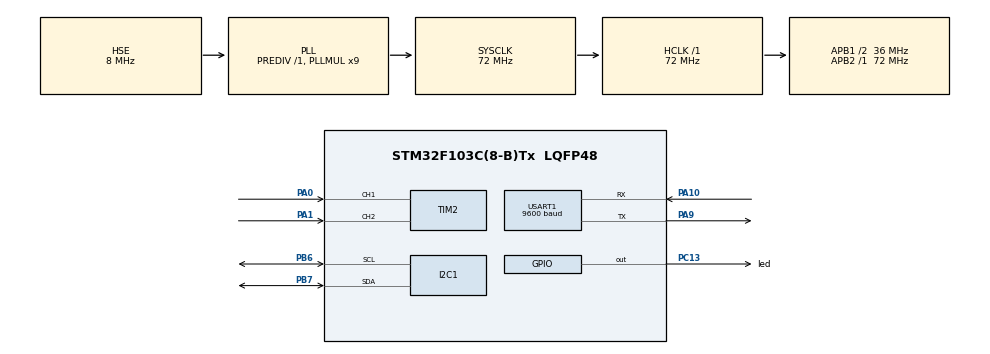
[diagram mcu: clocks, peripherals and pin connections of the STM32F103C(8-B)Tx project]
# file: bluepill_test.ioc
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Mcu.Family=STM32F1
Mcu.Name=STM32F103C(8-B)Tx
Mcu.Package=LQFP48
NVIC.PriorityGroup=NVIC_PRIORITYGROUP_4
PA0-WKUP.Signal=S_TIM2_CH1_ETR
PA1.Signal=S_TIM2_CH2
PA10.Mode=Asynchronous
PA10.Signal=USART1_RX
PA9.Mode=Asynchronous
PA9.Signal=USART1_TX
PB6.Mode=I2C
PB6.Signal=I2C1_SCL
PB7.Mode=I2C
PB7.Signal=I2C1_SDA
PC13-TAMPER-RTC.GPIO_Label=led
PC13-TAMPER-RTC.Signal=GPIO_Output
PC14-OSC32_IN.Mode=LSE-External-Oscillator
PC14-OSC32_IN.Signal=RCC_OSC32_IN
PC15-OSC32_OUT.Mode=LSE-External-Oscillator
PC15-OSC32_OUT.Signal=RCC_OSC32_OUT
PD0-OSC_IN.Mode=HSE-External-Oscillator
PD0-OSC_IN.Signal=RCC_OSC_IN
PD1-OSC_OUT.Mode=HSE-External-Oscillator
PD1-OSC_OUT.Signal=RCC_OSC_OUT
ProjectManager.HeapSize=0x200
ProjectManager.StackSize=0x400
ProjectManager.TargetToolchain=STM32CubeIDE
RCC.AHBFreq_Value=72000000
RCC.APB1CLKDivider=RCC_HCLK_DIV2
RCC.APB1Freq_Value=36000000
RCC.APB1TimFreq_Value=72000000
RCC.APB2Freq_Value=72000000
RCC.APB2TimFreq_Value=72000000
RCC.HCLKFreq_Value=72000000
RCC.PLLMUL=RCC_PLL_MUL9
RCC.PLLSourceVirtual=RCC_PLLSOURCE_HSE
RCC.SYSCLKFreq_VALUE=72000000
RCC.SYSCLKSource=RCC_SYSCLKSOURCE_PLLCLK
RCC.USBFreq_Value=72000000
SH.S_TIM2_CH1_ETR.0=TIM2_CH1,Encoder_Interface
SH.S_TIM2_CH2.0=TIM2_CH2,Encoder_Interface
TIM2.AutoReloadPreload=TIM_AUTORELOAD_PRELOAD_ENABLE
TIM2.EncoderMode=TIM_ENCODERMODE_TI12
TIM2.IC1Filter=10
TIM2.IC2Filter=10
USART1.BaudRate=9600
USART1.VirtualMode=VM_ASYNC
VP_SYS_VS_ND.Mode=No_Debug
board=custom

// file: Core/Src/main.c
/* USER CODE BEGIN Header */
/**
  ******************************************************************************
  * @file           : main.c
  * @brief          : Main program body
  ******************************************************************************
  * @attention
  *
  * Copyright (c) 2025 STMicroelectronics.
  * All rights reserved.
  *
  * This software is licensed under terms that can be found in the LICENSE file
  * in the root directory of this software component.
  * If no LICENSE file comes with this software, it is provided AS-IS.
  *
  ******************************************************************************
  */
/* USER CODE END Header */
#include "main.h"

/* USER CODE BEGIN Includes */
#include "i2C.h"
#include <stdbool.h>
//#include "enc_poll.h"
/* USER CODE END Includes */

/* USER CODE BEGIN PD */
#define n_quad 1
//extern int32_t pos[n_quad];
//extern int16_t diff[n_quad];

int32_t dat[3*n_quad];
uint8_t uart_data[12*n_quad];
uint8_t dat1[1] = {1};
uint8_t dat2[1] = {2};
uint8_t dat3[1] = {3};
uint8_t dat4[1] = {4};
uint8_t dat5[1] = {5};
uint8_t dat6[1] = {6};
/* USER CODE END PD */

I2C_HandleTypeDef hi2c1;

TIM_HandleTypeDef htim2;

UART_HandleTypeDef huart1;

/* USER CODE BEGIN PV */
TIM_HandleTypeDef* tim_arr[n_quad] = {&htim2};
/* USER CODE END PV */

void SystemClock_Config(void);
static void MX_GPIO_Init(void);
static void MX_I2C1_Init(void);
static void MX_USART1_UART_Init(void);
static void MX_TIM2_Init(void);

/* USER CODE BEGIN 0 */
uint32_t enc_curr[n_quad] = {0};
uint32_t enc_prev[n_quad] = {0};
bool down = 0;
int16_t diff[n_quad] = {0};
int16_t diff2[n_quad] = {0};
int16_t diff_prev[n_quad] = {0};
int32_t pos[n_quad] = {0}; //absolute position
int i, pwmi = 0;

/* USER CODE END 0 */

int main(void)
{

  /* MCU Configuration--------------------------------------------------------*/

  /* Reset of all peripherals, Initializes the Flash interface and the Systick. */
  HAL_Init();

  /* Configure the system clock */
  SystemClock_Config();

  /* Initialize all configured peripherals */
  MX_GPIO_Init();
  MX_I2C1_Init();
  MX_USART1_UART_Init();
  MX_TIM2_Init();
  /* USER CODE BEGIN 2 */
  PCA9685_MOTOR_Init();
  PCA9685_MOTOR_SetFrequency(1000);
  PCA9685_MOTOR_SetPWM(0, 0, 0);
  HAL_TIM_Encoder_Start(&htim2, TIM_CHANNEL_ALL);
  /* USER CODE END 2 */

  /* Infinite loop */
  while (1)
  {

    /* USER CODE BEGIN 3 */
//	HAL_Delay(2000);
//	PCA9685_MOTOR_SetFrequency(200);
//	PCA9685_MOTOR_SetPWM(0, 200, 4000);
//	HAL_Delay(2000);
	PCA9685_MOTOR_SetPWM(0, 0, pwmi*5);
	if (pwmi == 4000){
		down = true;
	} else if (pwmi == 0){
		down = false;
	}
	if (down){
		pwmi -= 10;
	}
	else{
		pwmi += 10;
	}
	i = 0;
	enc_prev[i] = enc_curr[i];
	diff_prev[i] = diff[i];

	enc_curr[i] = __HAL_TIM_GET_COUNTER(&htim2);
	if (__HAL_TIM_IS_TIM_COUNTING_DOWN(&htim2)){//should give negative diff
		if (enc_curr[i] == enc_prev[i]){ //zero
			diff[i] = 0;
			HAL_GPIO_WritePin(led_GPIO_Port, led_Pin, 1);
//			HAL_UART_Transmit(&huart1, dat1, 1, 100);
		} else if (enc_curr[i] < enc_prev[i]){ //normal
			diff[i] = enc_curr[i] - enc_prev[i];
			HAL_GPIO_WritePin(led_GPIO_Port, led_Pin, 0);
//			HAL_UART_Transmit(&huart1, dat2, 1, 100);
		}
		else { //(enc_curr[i] > enc_prev[i]){//appears to increase, so underflow
			diff[i] = -(__HAL_TIM_GET_AUTORELOAD(&htim2) - enc_curr[i] + enc_prev[i]);
			HAL_GPIO_WritePin(led_GPIO_Port, led_Pin, 0);
//			HAL_UART_Transmit(&huart1, dat3, 1, 100);
		}
	}
	else{//should positive diff
		if (enc_curr[i] == enc_prev[i]){ //zero
			diff[i] = 0;
			HAL_GPIO_WritePin(led_GPIO_Port, led_Pin, 1);
//			HAL_UART_Transmit(&huart1, dat4, 1, 100);
		} else if (enc_curr[i] > enc_prev[i]){ //normal
			diff[i] = enc_curr[i] - enc_prev[i];
			HAL_GPIO_WritePin(led_GPIO_Port, led_Pin, 0);
//			HAL_UART_Transmit(&huart1, dat5, 1, 100);
		}
		else {//(enc_curr[i] < enc_prev[i]){//appears to increase, so underflow
			diff[i] = __HAL_TIM_GET_AUTORELOAD(&htim2) + enc_curr[i] - enc_prev[i];
			HAL_GPIO_WritePin(led_GPIO_Port, led_Pin, 0);
//			HAL_UART_Transmit(&huart1, dat6, 1, 100);
		}
	}

	pos[i] += diff[i]; //absolute position
	diff2[i] = diff[i] - diff_prev[i];

	for (int i = 0; i < n_quad; i++){
		dat[i] = pos[i];
		dat[i + n_quad] = diff[i];
		dat[i + 2*n_quad] = diff2[i];

		uart_data[4*i] = dat[i]&0x000000FF;
		uart_data[4*i+1] = (dat[i]&0x0000FF00)>>8;
		uart_data[4*i+2] = (dat[i]&0x00FF0000)>>16;
		uart_data[4*i+3] = (dat[i]&0xFF000000)>>24;

		uart_data[4*(i+n_quad)] = dat[i+n_quad]&0x000000FF;
		uart_data[4*(i+n_quad)+1] = (dat[i+n_quad]&0x0000FF00)>>8;
		uart_data[4*(i+n_quad)+2] = (dat[i+n_quad]&0x00FF0000)>>16;
		uart_data[4*(i+n_quad)+3] = (dat[i+n_quad]&0xFF000000)>>24;

		uart_data[4*(i+2*n_quad)] = dat[i+2*n_quad]&0x000000FF;
		uart_data[4*(i+2*n_quad)+1] = (dat[i+2*n_quad]&0x0000FF00)>>8;
		uart_data[4*(i+2*n_quad)+2] = (dat[i+2*n_quad]&0x00FF0000)>>16;
		uart_data[4*(i+2*n_quad)+3] = (dat[i+2*n_quad]&0xFF000000)>>24;
	}

	HAL_UART_Transmit(&huart1, uart_data, 12*n_quad, 100);
	HAL_Delay(100);
  }
  /* USER CODE END 3 */
}

void SystemClock_Config(void)
{
  RCC_OscInitTypeDef RCC_OscInitStruct = {0};
  RCC_ClkInitTypeDef RCC_ClkInitStruct = {0};

  /** Initializes the RCC Oscillators according to the specified parameters
  * in the RCC_OscInitTypeDef structure.
  */
  RCC_OscInitStruct.OscillatorType = RCC_OSCILLATORTYPE_HSE;
  RCC_OscInitStruct.HSEState = RCC_HSE_ON;
  RCC_OscInitStruct.HSEPredivValue = RCC_HSE_PREDIV_DIV1;
  RCC_OscInitStruct.HSIState = RCC_HSI_ON;
  RCC_OscInitStruct.PLL.PLLState = RCC_PLL_ON;
  RCC_OscInitStruct.PLL.PLLSource = RCC_PLLSOURCE_HSE;
  RCC_OscInitStruct.PLL.PLLMUL = RCC_PLL_MUL9;
  if (HAL_RCC_OscConfig(&RCC_OscInitStruct) != HAL_OK)
  {
    Error_Handler();
  }

  /** Initializes the CPU, AHB and APB buses clocks
  */
  RCC_ClkInitStruct.ClockType = RCC_CLOCKTYPE_HCLK|RCC_CLOCKTYPE_SYSCLK
                              |RCC_CLOCKTYPE_PCLK1|RCC_CLOCKTYPE_PCLK2;
  RCC_ClkInitStruct.SYSCLKSource = RCC_SYSCLKSOURCE_PLLCLK;
  RCC_ClkInitStruct.AHBCLKDivider = RCC_SYSCLK_DIV1;
  RCC_ClkInitStruct.APB1CLKDivider = RCC_HCLK_DIV2;
  RCC_ClkInitStruct.APB2CLKDivider = RCC_HCLK_DIV1;

  if (HAL_RCC_ClockConfig(&RCC_ClkInitStruct, FLASH_LATENCY_2) != HAL_OK)
  {
    Error_Handler();
  }
}

static void MX_I2C1_Init(void)
{

  hi2c1.Instance = I2C1;
  hi2c1.Init.ClockSpeed = 100000;
  hi2c1.Init.DutyCycle = I2C_DUTYCYCLE_2;
  hi2c1.Init.OwnAddress1 = 0;
  hi2c1.Init.AddressingMode = I2C_ADDRESSINGMODE_7BIT;
  hi2c1.Init.DualAddressMode = I2C_DUALADDRESS_DISABLE;
  hi2c1.Init.OwnAddress2 = 0;
  hi2c1.Init.GeneralCallMode = I2C_GENERALCALL_DISABLE;
  hi2c1.Init.NoStretchMode = I2C_NOSTRETCH_DISABLE;
  if (HAL_I2C_Init(&hi2c1) != HAL_OK)
  {
    Error_Handler();
  }

}

static void MX_TIM2_Init(void)
{

  TIM_Encoder_InitTypeDef sConfig = {0};
  TIM_MasterConfigTypeDef sMasterConfig = {0};

  htim2.Instance = TIM2;
  htim2.Init.Prescaler = 0;
  htim2.Init.CounterMode = TIM_COUNTERMODE_UP;
  htim2.Init.Period = 65535;
  htim2.Init.ClockDivision = TIM_CLOCKDIVISION_DIV1;
  htim2.Init.AutoReloadPreload = TIM_AUTORELOAD_PRELOAD_ENABLE;
  sConfig.EncoderMode = TIM_ENCODERMODE_TI12;
  sConfig.IC1Polarity = TIM_ICPOLARITY_RISING;
  sConfig.IC1Selection = TIM_ICSELECTION_DIRECTTI;
  sConfig.IC1Prescaler = TIM_ICPSC_DIV1;
  sConfig.IC1Filter = 10;
  sConfig.IC2Polarity = TIM_ICPOLARITY_RISING;
  sConfig.IC2Selection = TIM_ICSELECTION_DIRECTTI;
  sConfig.IC2Prescaler = TIM_ICPSC_DIV1;
  sConfig.IC2Filter = 10;
  if (HAL_TIM_Encoder_Init(&htim2, &sConfig) != HAL_OK)
  {
    Error_Handler();
  }
  sMasterConfig.MasterOutputTrigger = TIM_TRGO_RESET;
  sMasterConfig.MasterSlaveMode = TIM_MASTERSLAVEMODE_DISABLE;
  if (HAL_TIMEx_MasterConfigSynchronization(&htim2, &sMasterConfig) != HAL_OK)
  {
    Error_Handler();
  }

}

static void MX_USART1_UART_Init(void)
{

  huart1.Instance = USART1;
  huart1.Init.BaudRate = 9600;
  huart1.Init.WordLength = UART_WORDLENGTH_8B;
  huart1.Init.StopBits = UART_STOPBITS_1;
  huart1.Init.Parity = UART_PARITY_NONE;
  huart1.Init.Mode = UART_MODE_TX_RX;
  huart1.Init.HwFlowCtl = UART_HWCONTROL_NONE;
  huart1.Init.OverSampling = UART_OVERSAMPLING_16;
  if (HAL_UART_Init(&huart1) != HAL_OK)
  {
    Error_Handler();
  }

}

static void MX_GPIO_Init(void)
{
  GPIO_InitTypeDef GPIO_InitStruct = {0};

  /* GPIO Ports Clock Enable */
  __HAL_RCC_GPIOC_CLK_ENABLE();
  __HAL_RCC_GPIOD_CLK_ENABLE();
  __HAL_RCC_GPIOA_CLK_ENABLE();
  __HAL_RCC_GPIOB_CLK_ENABLE();

  /*Configure GPIO pin Output Level */
  HAL_GPIO_WritePin(led_GPIO_Port, led_Pin, GPIO_PIN_RESET);

  /*Configure GPIO pin : led_Pin */
  GPIO_InitStruct.Pin = led_Pin;
  GPIO_InitStruct.Mode = GPIO_MODE_OUTPUT_PP;
  GPIO_InitStruct.Pull = GPIO_NOPULL;
  GPIO_InitStruct.Speed = GPIO_SPEED_FREQ_LOW;
  HAL_GPIO_Init(led_GPIO_Port, &GPIO_InitStruct);

}

void Error_Handler(void)
{
  __disable_irq();
  while (1)
  {
  }
}
